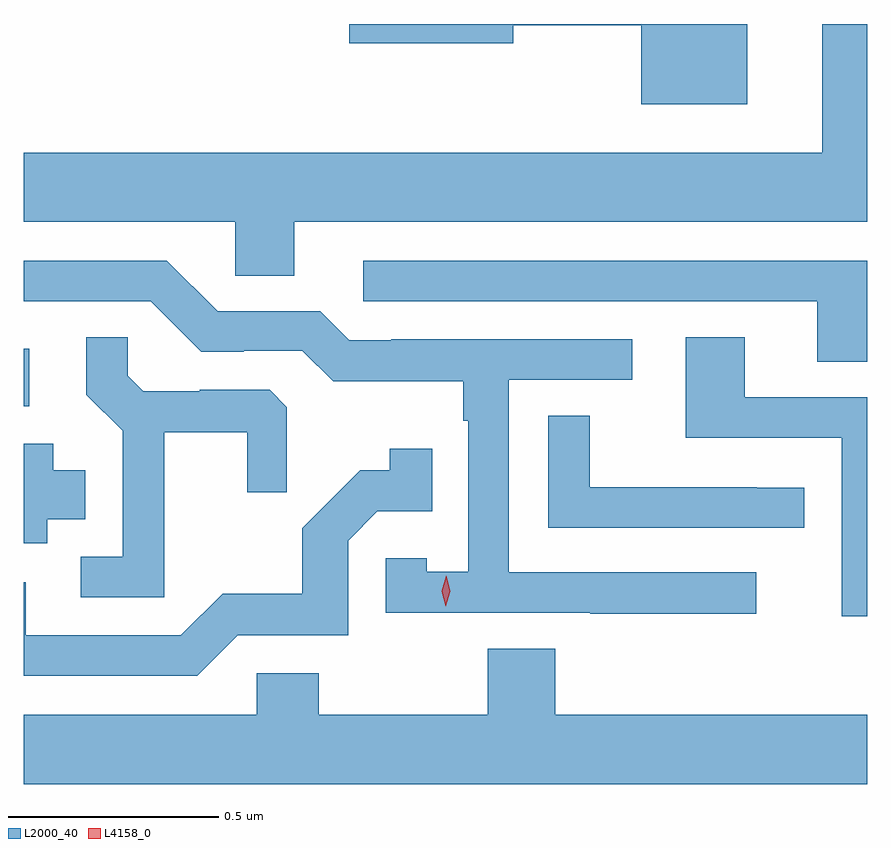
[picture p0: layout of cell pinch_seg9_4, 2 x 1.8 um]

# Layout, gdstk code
import gdstk
lib = gdstk.Library(unit=1e-6, precision=1e-09)
def R(c, l, rs):  # rectangles x0, y0, x1, y1
    for r in rs: c.add(gdstk.rectangle(r[:2], r[2:], *l))
def P(c, l, *ps):  # polygons
    for p in ps: c.add(gdstk.Polygon(p, *l))
L2000_40 = (2000, 40)
L4158_0 = (4158, 0)

pinch_seg9_4 = lib.new_cell('pinch_seg9_4')
R(pinch_seg9_4, L2000_40, [(1053.674,1235.943,1053.688,1236.079)])
P(pinch_seg9_4, L2000_40, [(1054.315,1236.38),(1055.674,1236.38),(1055.674,1236.849),(1055.567,1236.849),(1055.567,1236.544),(1053.674,1236.544),(1053.674,1236.38),(1054.176,1236.38),(1054.176,1236.253),(1054.315,1236.253)],
  [(1055.389,1236.849),(1054.446,1236.849),(1054.446,1236.803),(1054.834,1236.803),(1054.834,1236.846),(1055.138,1236.846),(1055.138,1236.659),(1055.389,1236.659)],
  [(1055.41,1235.55),(1054.824,1235.55),(1054.824,1236.006),(1055.116,1236.006),(1055.116,1236.102),(1054.546,1236.102),(1054.546,1236.099),(1054.446,1236.099),(1054.377,1236.168),(1054.134,1236.168),(1054.014,1236.288),(1053.674,1236.288),(1053.674,1236.192),(1053.975,1236.192),(1054.095,1236.072),(1054.196,1236.072),(1054.196,1236.075),(1054.335,1236.075),(1054.408,1236.002),(1054.716,1236.002),(1054.716,1235.909),(1054.728,1235.909),(1054.728,1235.551),(1054.629,1235.551),(1054.629,1235.583),(1054.533,1235.583),(1054.533,1235.454),(1055.017,1235.454),(1055.017,1235.452),(1055.41,1235.452)],
  [(1055.674,1236.288),(1054.479,1236.288),(1054.479,1236.192),(1055.555,1236.192),(1055.555,1236.049),(1055.674,1236.049)],
  [(1054.007,1235.882),(1054.204,1235.882),(1054.204,1235.739),(1054.298,1235.739),(1054.298,1235.941),(1054.257,1235.982),(1054.092,1235.982),(1054.092,1235.979),(1053.958,1235.979),(1053.921,1236.016),(1053.921,1236.107),(1053.823,1236.107),(1053.823,1235.971),(1053.909,1235.885),(1053.909,1235.586),(1053.81,1235.586),(1053.81,1235.49),(1054.007,1235.49)],
  [(1055.674,1235.964),(1055.383,1235.964),(1055.383,1236.107),(1055.243,1236.107),(1055.243,1235.868),(1055.613,1235.868),(1055.613,1235.445),(1055.674,1235.445)],
  [(1055.524,1235.75),(1055.411,1235.75),(1055.411,1235.751),(1055.016,1235.751),(1055.016,1235.921),(1054.917,1235.921),(1054.917,1235.655),(1055.524,1235.655)],
  [(1053.73,1235.675),(1053.82,1235.675),(1053.82,1235.791),(1053.745,1235.791),(1053.745,1235.854),(1053.674,1235.854),(1053.674,1235.618),(1053.73,1235.618)],
  [(1054.182,1235.4),(1054.443,1235.4),(1054.443,1235.625),(1054.512,1235.694),(1054.643,1235.694),(1054.643,1235.842),(1054.542,1235.842),(1054.542,1235.792),(1054.472,1235.792),(1054.335,1235.654),(1054.335,1235.499),(1054.146,1235.499),(1054.047,1235.4),(1053.679,1235.4),(1053.679,1235.526),(1053.674,1235.526),(1053.674,1235.304),(1054.086,1235.304)],
  [(1055.674,1235.212),(1054.934,1235.212),(1054.934,1235.369),(1054.774,1235.369),(1054.774,1235.212),(1054.374,1235.212),(1054.374,1235.31),(1054.227,1235.31),(1054.227,1235.212),(1053.674,1235.212),(1053.674,1235.048),(1055.674,1235.048)])
P(pinch_seg9_4, L4158_0, [(1054.675,1235.469),(1054.675,1235.469),(1054.665,1235.505),(1054.676,1235.541),(1054.676,1235.541),(1054.676,1235.541),(1054.685,1235.505),(1054.675,1235.469)])

lib.write_gds('pinch_seg9_4.gds')
